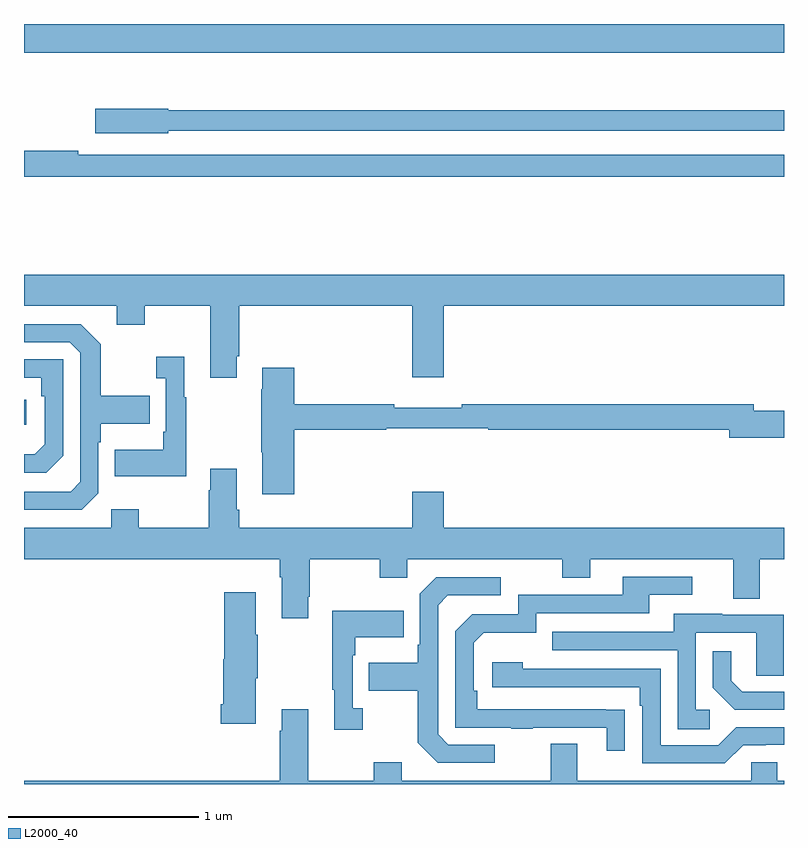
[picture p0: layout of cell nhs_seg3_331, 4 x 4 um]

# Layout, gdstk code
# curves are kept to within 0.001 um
import gdstk
lib = gdstk.Library(unit=1e-6, precision=1e-09)
def R(c, l, rs):  # rectangles x0, y0, x1, y1
    for r in rs: c.add(gdstk.rectangle(r[:2], r[2:], *l))
def P(c, l, *ps):  # polygons
    for p in ps: c.add(gdstk.Polygon(p, *l))
L2000_40 = (2000, 40)

nhs_seg3_331 = lib.new_cell('nhs_seg3_331')
R(nhs_seg3_331, L2000_40, [(127,700.292,127.012,700.422), (127,702.248,131,702.4)])
P(nhs_seg3_331, L2000_40, [(127.758,701.838),(131,701.838),(131,701.947),(127.758,701.947),(127.758,701.955),(127.374,701.955),(127.374,701.825),(127.758,701.825)],
  [(131,701.712),(127.286,701.712),(127.286,701.732),(127,701.732),(127,701.596),(131,701.596)],
  [(128.119,700.651),(128.132,700.651),(128.132,700.916),(129.044,700.916),(129.044,700.542),(129.208,700.542),(129.208,700.916),(131,700.916),(131,701.08),(127,701.08),(127,700.916),(127.487,700.916),(127.487,700.817),(127.635,700.817),(127.635,700.916),(127.979,700.916),(127.979,700.539),(128.119,700.539)],
  [(127.392,699.93),(127.392,700.199),(127.405,700.199),(127.405,700.295),(127.661,700.295),(127.661,700.443),(127.405,700.443),(127.405,700.715),(127.299,700.821),(127,700.821),(127,700.725),(127.242,700.725),(127.296,700.671),(127.296,699.99),(127.245,699.939),(127,699.939),(127,699.843),(127.305,699.843)],
  [(127.855,700.435),(127.843,700.435),(127.843,700.648),(127.695,700.648),(127.695,700.535),(127.746,700.535),(127.746,700.255),(127.734,700.255),(127.734,700.159),(127.477,700.159),(127.477,700.019),(127.855,700.019)],
  [(127.206,700.128),(127.206,700.635),(127,700.635),(127,700.539),(127.09,700.539),(127.09,700.442),(127.11,700.442),(127.11,700.188),(127.057,700.135),(127,700.135),(127,700.038),(127.116,700.038)],
  [(128.423,700.264),(128.906,700.264),(128.906,700.272),(129.443,700.272),(129.443,700.264),(130.712,700.264),(130.712,700.222),(131,700.222),(131,700.364),(130.84,700.364),(130.84,700.4),(129.304,700.4),(129.304,700.381),(128.948,700.381),(128.948,700.4),(128.423,700.4),(128.423,700.591),(128.255,700.591),(128.255,700.478),(128.248,700.478),(128.248,700.147),(128.255,700.147),(128.255,699.924),(128.423,699.924)],
  [(128.497,699.385),(128.505,699.385),(128.505,699.584),(128.872,699.584),(128.872,699.485),(129.018,699.485),(129.018,699.584),(129.832,699.584),(129.832,699.485),(129.979,699.485),(129.979,699.584),(130.733,699.584),(130.733,699.376),(130.873,699.376),(130.873,699.584),(131,699.584),(131,699.748),(129.208,699.748),(129.208,699.937),(129.044,699.937),(129.044,699.748),(128.132,699.748),(128.132,699.844),(128.119,699.844),(128.119,700.06),(127.979,700.06),(127.979,699.947),(127.972,699.947),(127.972,699.748),(127.605,699.748),(127.605,699.847),(127.458,699.847),(127.458,699.748),(127,699.748),(127,699.584),(128.345,699.584),(128.345,699.488),(128.357,699.488),(128.357,699.273),(128.497,699.273)],
  [(130.163,698.792),(129.386,698.793),(129.386,698.89),(129.366,698.89),(129.366,699.144),(129.419,699.197),(129.696,699.197),(129.696,699.3),(130.291,699.3),(130.291,699.396),(130.516,699.396),(130.516,699.492),(130.151,699.492),(130.151,699.396),(129.6,699.396),(129.6,699.294),(129.36,699.294),(129.27,699.204),(129.27,698.697),(129.565,698.697),(129.565,698.692),(129.677,698.692),(129.677,698.697),(130.067,698.697),(130.067,698.574),(130.163,698.574)],
  [(129.477,698.607),(129.234,698.607),(129.18,698.661),(129.18,699.342),(129.231,699.393),(129.508,699.393),(129.508,699.489),(129.171,699.489),(129.084,699.402),(129.084,699.133),(129.072,699.133),(129.072,699.037),(128.815,699.037),(128.815,698.89),(129.072,698.89),(129.072,698.617),(129.177,698.511),(129.477,698.511)],
  [(128.221,698.957),(128.229,698.957),(128.229,699.185),(128.221,699.185),(128.221,699.409),(128.054,699.409),(128.054,699.057),(128.048,699.057),(128.048,698.821),(128.036,698.821),(128.036,698.717),(128.221,698.717)],
  [(128.782,698.798),(128.73,698.798),(128.73,699.077),(128.743,699.077),(128.743,699.173),(128.999,699.173),(128.999,699.313),(128.622,699.313),(128.622,698.897),(128.633,698.897),(128.633,698.685),(128.782,698.685)],
  [(130.608,698.79),(130.536,698.79),(130.536,699.195),(130.854,699.195),(130.854,698.971),(130.999,698.971),(130.999,699.291),(130.675,699.291),(130.675,699.295),(130.421,699.295),(130.421,699.201),(129.781,699.201),(129.781,699.105),(130.44,699.105),(130.44,698.689),(130.608,698.689)],
  [(131,698.886),(130.78,698.886),(130.723,698.943),(130.723,699.1),(130.626,699.1),(130.626,698.906),(130.742,698.79),(131,698.79)],
  [(130.785,698.604),(130.904,698.604),(130.904,698.607),(131,698.607),(131,698.7),(130.749,698.7),(130.653,698.604),(130.35,698.604),(130.35,699.006),(129.626,699.006),(129.626,699.04),(129.465,699.04),(129.465,698.91),(130.241,698.91),(130.241,698.813),(130.254,698.813),(130.254,698.508),(130.689,698.508)],
  [(131,698.416),(130.965,698.416),(130.965,698.514),(130.827,698.514),(130.827,698.416),(129.913,698.416),(129.913,698.611),(129.773,698.611),(129.773,698.416),(128.989,698.416),(128.989,698.515),(128.842,698.515),(128.842,698.416),(128.497,698.416),(128.497,698.794),(128.357,698.794),(128.357,698.681),(128.345,698.681),(128.345,698.416),(127,698.416),(127,698.4),(131,698.4)])

lib.write_gds('nhs_seg3_331.gds')
